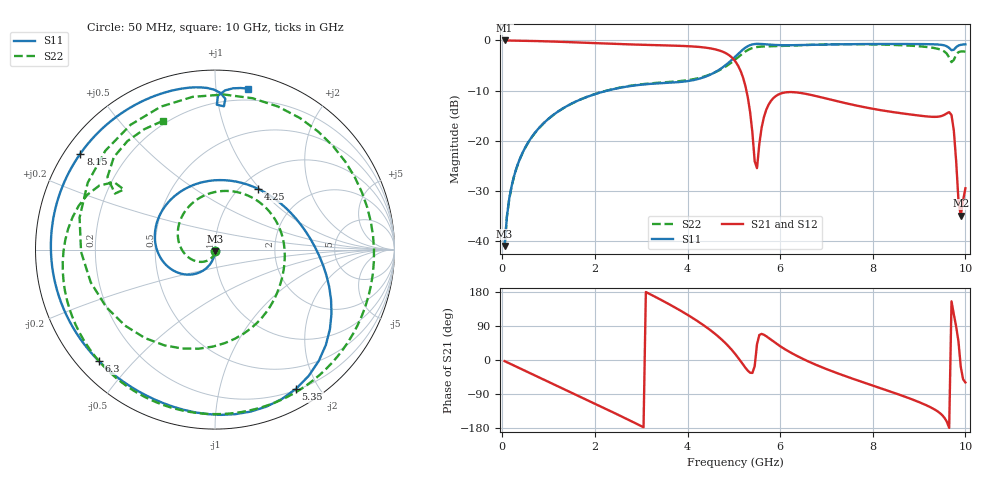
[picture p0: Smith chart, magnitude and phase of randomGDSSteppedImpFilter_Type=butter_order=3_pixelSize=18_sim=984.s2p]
! freq	dB(S11)	phase(S11)	dB(S12)	phase(S12)
!  dB(S21)	phase(S21)	dB(S22)	phase(S22)
!S-par simulation data
#  GHz  S  DB  R 50
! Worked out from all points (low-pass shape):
!   200 points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, 50 MHz to 10 GHz, reference 50 ohm
!   highest |S21| = -0.01 dB at 50 MHz (marker M1); lowest = -34.9 dB at 9.9 GHz (marker M2)
!   |S21| within 3 dB of the highest: start of sweep to 4.906 GHz
!   lowest |S11| = -40.9 dB at 50 MHz (marker M3), VSWR 1.02, Z = 50 - j0.897 ohm
!   |S11| at or under -10 dB: start of sweep to 2.266 GHz
!   |S22| runs from -41.0 to -0.8 dB; largest |S21 - S12| = 0
!   S11 on the Smith chart (normalised r, x): 50 MHz: 1.00, -0.02; 4.25 GHz: 1.20, +0.98; 5.35 GHz: 0.22, -1.72; 6.3 GHz: 0.06, -0.40; 8.15 GHz: 0.05, +0.32; 10 GHz: 0.11, +1.22
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0.05  -40.94 -90.3  -0.01 -3.0  -0.01 -3.0  -40.99 -92.7
0.2  -29.08 -97.0  -0.03 -11.7  -0.03 -11.7  -29.12 -105.7
0.5  -21.26 -108.7  -0.07 -29.0  -0.07 -29.0  -21.30 -130.1
1.75  -11.53 -155.2  -0.44 -100.9  -0.44 -100.9  -11.53 131.8
2.65  -9.26 166.7  -0.76 -153.4  -0.76 -153.4  -9.21 65.4
3.4  -8.53 124.3  -0.96 160.5  -0.96 160.5  -8.41 16.1
4.25  -7.63 54.4  -1.30 99.8  -1.30 99.8  -7.47 -35.6
4.7  -5.75 11.1  -2.04 58.1  -2.04 58.1  -5.87 -77.3
5.05  -3.05 -23.3  -4.41 12.7  -4.41 12.7  -3.66 -139.8
5.2  -1.78 -40.7  -7.44 -12.1  -7.44 -12.1  -2.54 -179.1
5.35  -0.94 -59.8  -14.19 -33.6  -14.19 -33.6  -1.70 137.9
5.5  -0.69 -77.7  -25.44 41.5  -25.44 41.5  -1.31 98.4
5.65  -0.75 -92.5  -15.25 66.6  -15.25 66.6  -1.20 66.2
5.85  -0.89 -108.4  -11.52 49.2  -11.52 49.2  -1.15 34.0
6.3  -0.95 -136.0  -10.31 14.8  -10.31 14.8  -1.00 -12.9
6.7  -0.87 -156.2  -10.93 -8.8  -10.93 -8.8  -0.86 -41.0
8.15  -0.71 144.5  -13.86 -73.7  -13.86 -73.7  -0.82 -113.3
8.35  -0.71 137.1  -14.16 -82.0  -14.16 -82.0  -0.86 -122.7
9.2  -0.74 105.3  -15.17 -121.9  -15.17 -121.9  -1.34 -171.6
9.7  -1.94 86.4  -14.86 154.9  -14.86 154.9  -4.32 146.6
9.9  -0.87 83.6  -34.94 -17.9  -34.94 -17.9  -2.19 128.9
10  -0.77 78.5  -29.45 -59.2  -29.45 -59.2  -2.23 111.8
